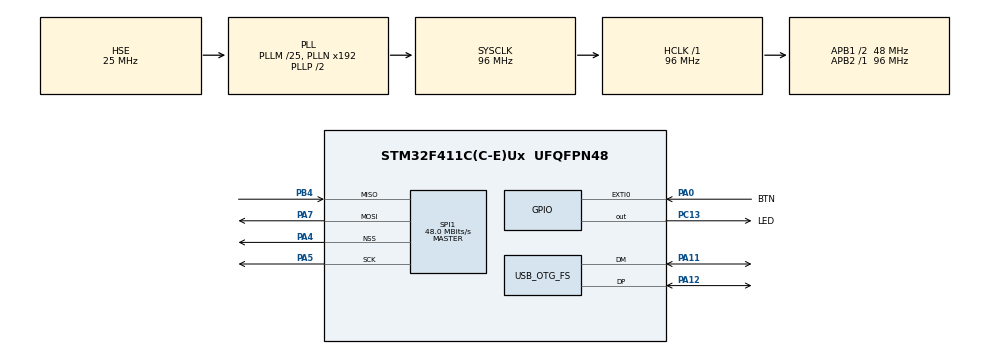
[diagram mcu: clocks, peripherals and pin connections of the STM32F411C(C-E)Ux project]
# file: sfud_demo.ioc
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Mcu.Family=STM32F4
USB_DEVICE.CLASS_NAME_FS=CDC
RCC.CortexFreq_Value=96000000
PA7.Mode=Full_Duplex_Master
SPI1.VirtualType=VM_MASTER
USB_DEVICE.VirtualModeFS=Cdc_FS
PC13-ANTI_TAMP.GPIO_Label=LED
PH1\ -\ OSC_OUT.Mode=HSE-External-Oscillator
PA11.Mode=Device_Only
RCC.APB1CLKDivider=RCC_HCLK_DIV2
PA0-WKUP.GPIO_ModeDefaultEXTI=GPIO_MODE_IT_RISING_FALLING
RCC.SYSCLKSource=RCC_SYSCLKSOURCE_PLLCLK
ProjectManager.StackSize=0x400
PA0-WKUP.GPIO_Label=BTN
PA0-WKUP.Signal=GPXTI0
PA13.Signal=SYS_JTMS-SWDIO
PA12.Signal=USB_OTG_FS_DP
PH0\ -\ OSC_IN.Mode=HSE-External-Oscillator
PH0\ -\ OSC_IN.Signal=RCC_OSC_IN
PA4.Mode=NSS_Signal_Hard_Output
ProjectManager.TargetToolchain=STM32CubeIDE
SPI1.Direction=SPI_DIRECTION_2LINES
RCC.HCLKFreq_Value=96000000
VP_USB_DEVICE_VS_USB_DEVICE_CDC_FS.Mode=CDC_FS
RCC.APB2TimFreq_Value=96000000
SPI1.CalculateBaudRate=48.0 MBits/s
RCC.LSE_VALUE=32768
RCC.AHBFreq_Value=96000000
PA5.Signal=SPI1_SCK
RCC.HSE_VALUE=25000000
PH1\ -\ OSC_OUT.Signal=RCC_OSC_OUT
board=custom
PC13-ANTI_TAMP.Signal=GPIO_Output
RCC.VCOOutputFreq_Value=192000000
NVIC.SPI1_IRQn=true\:0\:0\:false\:false\:true\:true\:true
RCC.APB2Freq_Value=96000000
PB4.Mode=Full_Duplex_Master
SPI1.Mode=SPI_MODE_MASTER
PA14.Mode=Serial_Wire
SPI1.VirtualNSS=VM_NSSHARD
PA13.Mode=Serial_Wire
Mcu.Name=STM32F411C(C-E)Ux
RCC.48MHZClocksFreq_Value=48000000
NVIC.EXTI0_IRQn=true\:0\:0\:false\:false\:true\:true\:true
PA4.Signal=SPI1_NSS
RCC.SYSCLKFreq_VALUE=96000000
Mcu.Package=UFQFPN48
PA12.Mode=Device_Only
NVIC.OTG_FS_IRQn=true\:0\:0\:false\:false\:true\:false\:true
PA11.Signal=USB_OTG_FS_DM
PA14.Signal=SYS_JTCK-SWCLK
USB_OTG_FS.VirtualMode=Device_Only
ProjectManager.HeapSize=0x200
RCC.HSI_VALUE=16000000
NVIC.PriorityGroup=NVIC_PRIORITYGROUP_4
RCC.PLLM=25
RCC.APB1TimFreq_Value=96000000
PA0-WKUP.GPIO_PuPd=GPIO_PULLUP
RCC.APB1Freq_Value=48000000
USB_DEVICE.VirtualMode=Cdc
PB4.Signal=SPI1_MISO
PA5.Mode=Full_Duplex_Master
PA7.Signal=SPI1_MOSI

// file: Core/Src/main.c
/* USER CODE BEGIN Header */
/**
  ******************************************************************************
  * @file           : main.c
  * @brief          : Main program body
  ******************************************************************************
  * @attention
  *
  * <h2><center>&copy; Copyright (c) 2021 STMicroelectronics.
  * All rights reserved.</center></h2>
  *
  * This software component is licensed by ST under BSD 3-Clause license,
  * the "License"; You may not use this file except in compliance with the
  * License. You may obtain a copy of the License at:
  *                        opensource.org/licenses/BSD-3-Clause
  *
  ******************************************************************************
  */
/* USER CODE END Header */
#include "main.h"
#include "usb_device.h"

/* USER CODE BEGIN Includes */
#include "usbd_cdc_if.h"
#include "sfud.h"
/* USER CODE END Includes */

/* USER CODE BEGIN PD */
#define DFU_BOOT_FLAG 0xDEADBEEF
/* USER CODE END PD */

SPI_HandleTypeDef hspi1;

/* USER CODE BEGIN PV */
extern int _estack;
uint32_t *dfu_boot_flag;
uint32_t push_count = 0;
/* USER CODE END PV */

void SystemClock_Config(void);
static void MX_GPIO_Init(void);
static void MX_SPI1_Init(void);

/* USER CODE BEGIN 0 */
int _write(int file, char *ptr, int len) {
	CDC_Transmit_FS((uint8_t *)ptr, len);
    return len;
}

void HAL_GPIO_EXTI_Callback(uint16_t GPIO_Pin) {
	if (GPIO_Pin == BTN_Pin) // If the button
	{
		GPIO_PinState pinState = HAL_GPIO_ReadPin(BTN_GPIO_Port, BTN_Pin);
		if (pinState == GPIO_PIN_RESET) {
			push_count = HAL_GetTick();
		} else {
			if (HAL_GetTick() - push_count > 1000) {
				// Set the boot flag and reset the mcu.  The bootloader
				// will detect the flag and stay in dfu mode.
				//dfu_boot_flag = (uint32_t) DFU_BOOT_FLAG;
				*dfu_boot_flag = DFU_BOOT_FLAG;
				HAL_NVIC_SystemReset();
			}
			push_count = 0;
		}

	}
}
/* USER CODE END 0 */

int main(void)
{
  /* USER CODE BEGIN 1 */
	dfu_boot_flag = (uint32_t *)(&_estack - 100); // 100 bytes below top of stack
  /* USER CODE END 1 */

  /* MCU Configuration--------------------------------------------------------*/

  /* Reset of all peripherals, Initializes the Flash interface and the Systick. */
  HAL_Init();

  /* Configure the system clock */
  SystemClock_Config();

  /* Initialize all configured peripherals */
  MX_GPIO_Init();
  MX_SPI1_Init();
  MX_USB_DEVICE_Init();
  /* USER CODE BEGIN 2 */
  HAL_Delay(3000);
  printf("Initializing done\n");

  sfud_init();

  /* USER CODE END 2 */

  /* Infinite loop */
  /* USER CODE BEGIN WHILE */

  uint32_t last_led_toggle = 0, now = 0;

  for (;;)
  {

	  now = HAL_GetTick();
	  if (now - last_led_toggle >= 500) {

		  HAL_GPIO_TogglePin(LED_GPIO_Port, LED_Pin);

		  last_led_toggle = now;
	  }

    /* USER CODE END WHILE */

  }
}

void SystemClock_Config(void)
{
  RCC_OscInitTypeDef RCC_OscInitStruct = {0};
  RCC_ClkInitTypeDef RCC_ClkInitStruct = {0};

  /** Configure the main internal regulator output voltage
  */
  __HAL_RCC_PWR_CLK_ENABLE();
  __HAL_PWR_VOLTAGESCALING_CONFIG(PWR_REGULATOR_VOLTAGE_SCALE1);
  /** Initializes the RCC Oscillators according to the specified parameters
  * in the RCC_OscInitTypeDef structure.
  */
  RCC_OscInitStruct.OscillatorType = RCC_OSCILLATORTYPE_HSE;
  RCC_OscInitStruct.HSEState = RCC_HSE_ON;
  RCC_OscInitStruct.PLL.PLLState = RCC_PLL_ON;
  RCC_OscInitStruct.PLL.PLLSource = RCC_PLLSOURCE_HSE;
  RCC_OscInitStruct.PLL.PLLM = 25;
  RCC_OscInitStruct.PLL.PLLN = 192;
  RCC_OscInitStruct.PLL.PLLP = RCC_PLLP_DIV2;
  RCC_OscInitStruct.PLL.PLLQ = 4;
  if (HAL_RCC_OscConfig(&RCC_OscInitStruct) != HAL_OK)
  {
    Error_Handler();
  }
  /** Initializes the CPU, AHB and APB buses clocks
  */
  RCC_ClkInitStruct.ClockType = RCC_CLOCKTYPE_HCLK|RCC_CLOCKTYPE_SYSCLK
                              |RCC_CLOCKTYPE_PCLK1|RCC_CLOCKTYPE_PCLK2;
  RCC_ClkInitStruct.SYSCLKSource = RCC_SYSCLKSOURCE_PLLCLK;
  RCC_ClkInitStruct.AHBCLKDivider = RCC_SYSCLK_DIV1;
  RCC_ClkInitStruct.APB1CLKDivider = RCC_HCLK_DIV2;
  RCC_ClkInitStruct.APB2CLKDivider = RCC_HCLK_DIV1;

  if (HAL_RCC_ClockConfig(&RCC_ClkInitStruct, FLASH_LATENCY_3) != HAL_OK)
  {
    Error_Handler();
  }
}

static void MX_SPI1_Init(void)
{

  /* SPI1 parameter configuration*/
  hspi1.Instance = SPI1;
  hspi1.Init.Mode = SPI_MODE_MASTER;
  hspi1.Init.Direction = SPI_DIRECTION_2LINES;
  hspi1.Init.DataSize = SPI_DATASIZE_8BIT;
  hspi1.Init.CLKPolarity = SPI_POLARITY_LOW;
  hspi1.Init.CLKPhase = SPI_PHASE_1EDGE;
  hspi1.Init.NSS = SPI_NSS_HARD_OUTPUT;
  hspi1.Init.BaudRatePrescaler = SPI_BAUDRATEPRESCALER_2;
  hspi1.Init.FirstBit = SPI_FIRSTBIT_MSB;
  hspi1.Init.TIMode = SPI_TIMODE_DISABLE;
  hspi1.Init.CRCCalculation = SPI_CRCCALCULATION_DISABLE;
  hspi1.Init.CRCPolynomial = 10;
  if (HAL_SPI_Init(&hspi1) != HAL_OK)
  {
    Error_Handler();
  }

}

static void MX_GPIO_Init(void)
{
  GPIO_InitTypeDef GPIO_InitStruct = {0};

  /* GPIO Ports Clock Enable */
  __HAL_RCC_GPIOC_CLK_ENABLE();
  __HAL_RCC_GPIOH_CLK_ENABLE();
  __HAL_RCC_GPIOA_CLK_ENABLE();
  __HAL_RCC_GPIOB_CLK_ENABLE();

  /*Configure GPIO pin Output Level */
  HAL_GPIO_WritePin(LED_GPIO_Port, LED_Pin, GPIO_PIN_RESET);

  /*Configure GPIO pin : LED_Pin */
  GPIO_InitStruct.Pin = LED_Pin;
  GPIO_InitStruct.Mode = GPIO_MODE_OUTPUT_PP;
  GPIO_InitStruct.Pull = GPIO_NOPULL;
  GPIO_InitStruct.Speed = GPIO_SPEED_FREQ_LOW;
  HAL_GPIO_Init(LED_GPIO_Port, &GPIO_InitStruct);

  /*Configure GPIO pin : BTN_Pin */
  GPIO_InitStruct.Pin = BTN_Pin;
  GPIO_InitStruct.Mode = GPIO_MODE_IT_RISING_FALLING;
  GPIO_InitStruct.Pull = GPIO_PULLUP;
  HAL_GPIO_Init(BTN_GPIO_Port, &GPIO_InitStruct);

  /* EXTI interrupt init*/
  HAL_NVIC_SetPriority(EXTI0_IRQn, 0, 0);
  HAL_NVIC_EnableIRQ(EXTI0_IRQn);

}

void Error_Handler(void)
{
  __disable_irq();
  while (1)
  {
  }
}

/************************ (C) COPYRIGHT STMicroelectronics *****END OF FILE****/
